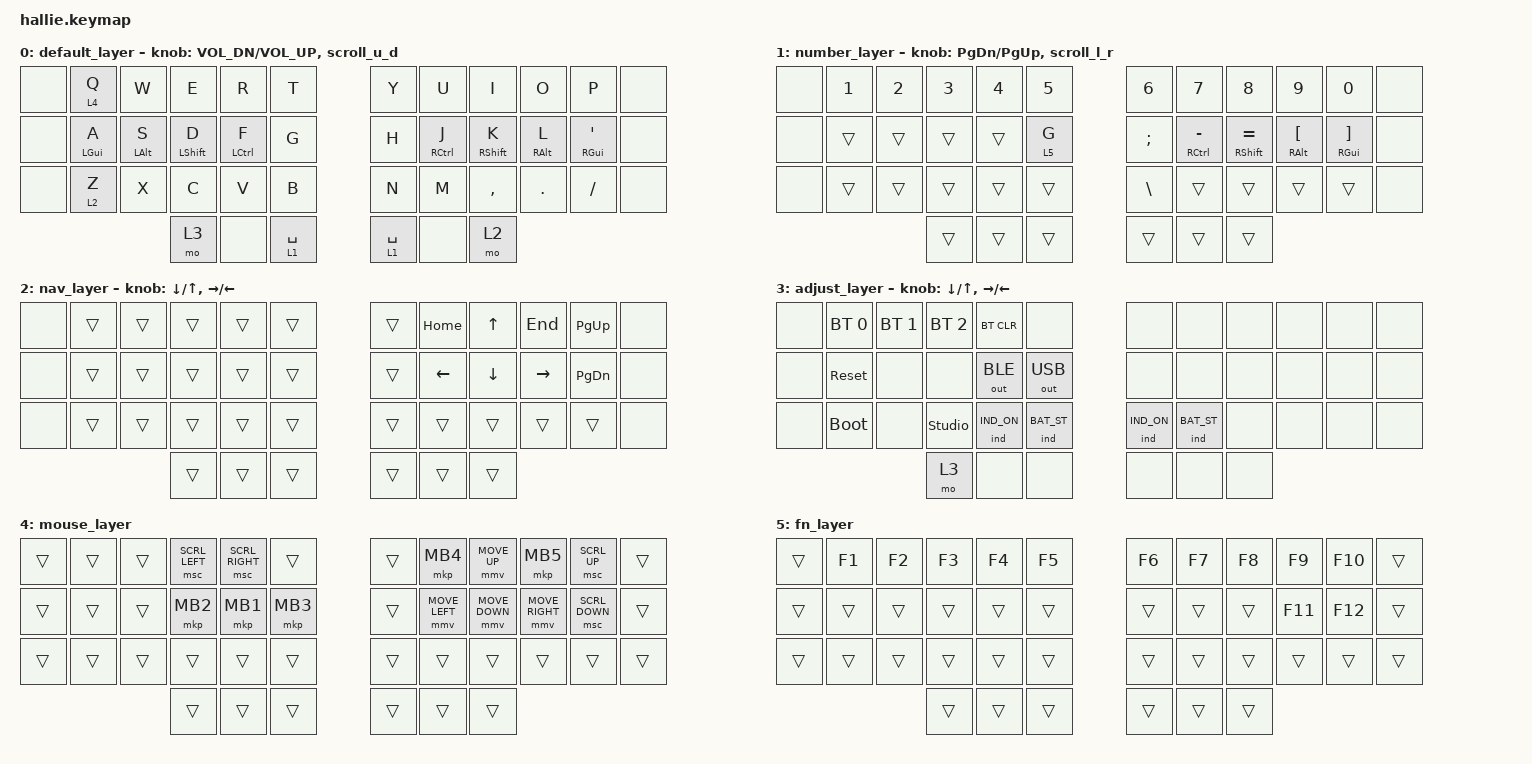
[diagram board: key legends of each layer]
#undef ZMK_BEHAVIORS_KEEP_ALL

#define ZMK_BEHAVIORS_KEEP_IND
#define ZMK_BEHAVIORS_KEEP_BT
#define ZMK_BEHAVIORS_KEEP_GRESC
#define ZMK_BEHAVIORS_KEEP_SYS_RESET
#define ZMK_BEHAVIORS_KEEP_BOOTLOADER
#define ZMK_BEHAVIORS_KEEP_CAPS_WORD
#define ZMK_BEHAVIORS_KEEP_KEY_REPEAT
#define ZMK_BEHAVIORS_KEEP_KT
#define ZMK_BEHAVIORS_KEEP_LT
#define ZMK_BEHAVIORS_KEEP_MT
#define ZMK_BEHAVIORS_KEEP_SK
#define ZMK_BEHAVIORS_KEEP_STICKY_LAYER
#define ZMK_BEHAVIORS_KEEP_TO
#define ZMK_BEHAVIORS_KEEP_TOG
#define ZMK_BEHAVIORS_KEEP_TRANS
#define ZMK_POINTING_DEFAULT_MOVE_VAL 1600
#define ZMK_POINTING_DEFAULT_SCRL_VAL 10

#include <dt-bindings/zmk/indicators.h>
#include <behaviors.dtsi>
#include <dt-bindings/zmk/bt.h>
#include <dt-bindings/zmk/keys.h>
#include <dt-bindings/zmk/outputs.h>
#include <dt-bindings/zmk/pointing.h>

#define DEF 0
#define LWR 1
#define RSE 2
#define ADJ 3

&lt {
    quick_tap_ms = <175>;
    tapping-term-ms = <175>;
    quick-tap-ms = <175>;
};

&mt {
    quick_tap_ms = <175>;
    tapping-term-ms = <175>;
    quick-tap-ms = <175>;
};

&mmv {
    time-to-max-speed-ms = <400>;
    acceleration-exponent = <1>;
};

/ {
    combos {
        compatible = "zmk,combos";

        enter {
            bindings = <&kp RETURN>;
            key-positions = <22 21>;
        };

        backspace {
            bindings = <&kp BACKSPACE>;
            key-positions = <10 9>;
        };

        esc {
            bindings = <&kp ESC>;
            key-positions = <1 2>;
        };

        grv {
            bindings = <&kp GRAVE>;
            key-positions = <2 3>;
        };

        tab {
            bindings = <&kp TAB>;
            key-positions = <13 14>;
        };

        del {
            bindings = <&kp DELETE>;
            key-positions = <9 8>;
        };

        bkslash {
            bindings = <&kp BACKSLASH>;
            key-positions = <16 19>;
        };
    };

    keymap {
        compatible = "zmk,keymap";

        default_layer {
            bindings = <
&none  &lt 4 Q         &kp W           &kp E             &kp R        &kp T          &kp Y        &kp U        &kp I              &kp O            &kp P              &none
&none  &mt LEFT_GUI A  &mt LEFT_ALT S  &mt LEFT_SHIFT D  &mt LCTRL F  &kp G          &kp H        &mt RCTRL J  &mt RIGHT_SHIFT K  &mt RIGHT_ALT L  &mt RIGHT_GUI SQT  &none
&none  &lt 2 Z         &kp X           &kp C             &kp V        &kp B          &kp N        &kp M        &kp COMMA          &kp DOT          &kp SLASH          &none
                                       &mo 3             &none        &lt 1 SPACE    &lt 1 SPACE  &none        &mo 2
            >;

            sensor-bindings = <&inc_dec_kp C_VOL_DN C_VOL_UP &scroll_u_d>;
        };

        number_layer {
            bindings = <
&none  &kp NUMBER_1  &kp NUMBER_2  &kp NUMBER_3  &kp NUMBER_4  &kp N5     &kp NUMBER_6   &kp N7           &kp N8                 &kp N9                      &kp N0                       &none
&none  &trans        &trans        &trans        &trans        &lt 5 G    &kp SEMICOLON  &mt RCTRL MINUS  &mt RIGHT_SHIFT EQUAL  &mt RIGHT_ALT LEFT_BRACKET  &mt RIGHT_GUI RIGHT_BRACKET  &none
&none  &trans        &trans        &trans        &trans        &trans     &kp BACKSLASH  &trans           &trans                 &trans                      &trans                       &none
                                   &trans        &trans        &trans     &trans         &trans           &trans
            >;

            sensor-bindings = <&inc_dec_kp PG_DN PG_UP &scroll_l_r>;
        };

        nav_layer {
            bindings = <
&none  &trans  &trans  &trans  &trans  &trans    &trans  &kp HOME  &kp UP    &kp END    &kp PG_UP      &none
&none  &trans  &trans  &trans  &trans  &trans    &trans  &kp LEFT  &kp DOWN  &kp RIGHT  &kp PAGE_DOWN  &none
&none  &trans  &trans  &trans  &trans  &trans    &trans  &trans    &trans    &trans     &trans         &none
                       &trans  &trans  &trans    &trans  &trans    &trans
            >;

            sensor-bindings = <&inc_dec_kp DOWN_ARROW UP_ARROW &inc_dec_kp RIGHT_ARROW LEFT_ARROW>;
        };

        adjust_layer {
            bindings = <
&none  &bt BT_SEL 0  &bt BT_SEL 1  &bt BT_SEL 2    &bt BT_CLR    &none           &none        &none        &none  &none  &none  &none
&none  &sys_reset    &none         &none           &out OUT_BLE  &out OUT_USB    &none        &none        &none  &none  &none  &none
&none  &bootloader   &none         &studio_unlock  &ind IND_ON   &ind BAT_ST     &ind IND_ON  &ind BAT_ST  &none  &none  &none  &none
                                   &mo 3           &none         &none           &none        &none        &none
            >;

            sensor-bindings = <&inc_dec_kp DOWN_ARROW UP_ARROW &inc_dec_kp RIGHT_ARROW LEFT_ARROW>;
        };

        mouse_layer {
            bindings = <
&trans  &trans  &trans  &msc SCRL_LEFT  &msc SCRL_RIGHT  &trans      &trans  &mkp MB4        &mmv MOVE_UP    &mkp MB5         &msc SCRL_UP    &trans
&trans  &trans  &trans  &mkp MB2        &mkp MB1         &mkp MB3    &trans  &mmv MOVE_LEFT  &mmv MOVE_DOWN  &mmv MOVE_RIGHT  &msc SCRL_DOWN  &trans
&trans  &trans  &trans  &trans          &trans           &trans      &trans  &trans          &trans          &trans           &trans          &trans
                        &trans          &trans           &trans      &trans  &trans          &trans
            >;
        };

        fn_layer {
            bindings = <
&trans  &kp F1  &kp F2  &kp F3  &kp F4  &kp F5    &kp F6  &kp F7  &kp F8  &kp F9   &kp F10  &trans
&trans  &trans  &trans  &trans  &trans  &trans    &trans  &trans  &trans  &kp F11  &kp F12  &trans
&trans  &trans  &trans  &trans  &trans  &trans    &trans  &trans  &trans  &trans   &trans   &trans
                        &trans  &trans  &trans    &trans  &trans  &trans
            >;
        };
    };
};
